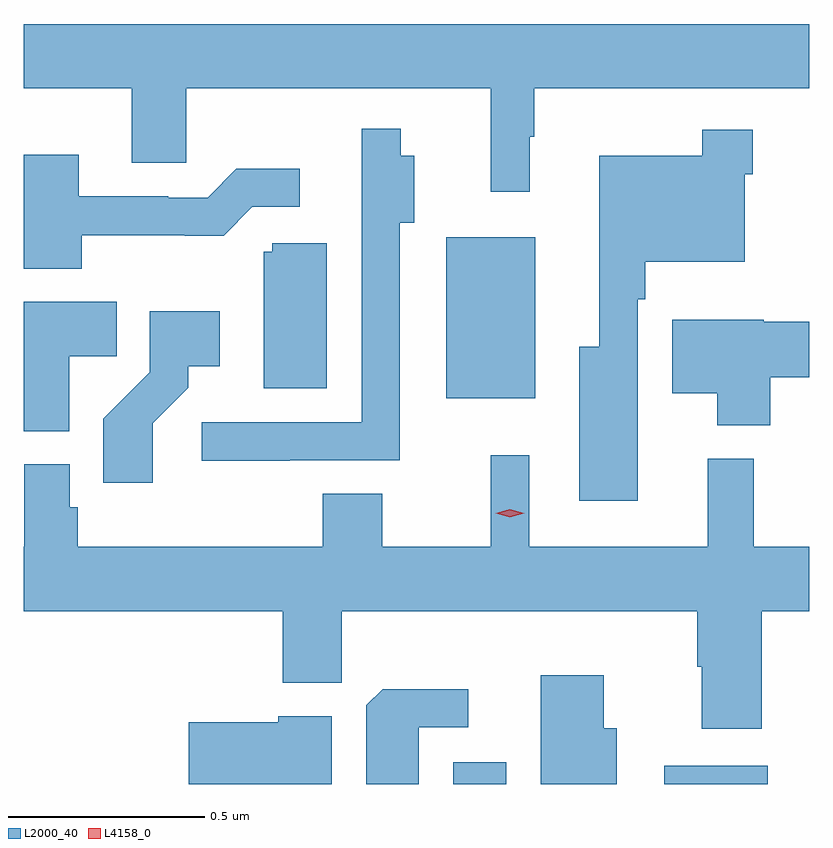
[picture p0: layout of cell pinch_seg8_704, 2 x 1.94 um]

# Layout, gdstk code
import gdstk
lib = gdstk.Library(unit=1e-6, precision=1e-09)
def R(c, l, rs):  # rectangles x0, y0, x1, y1
    for r in rs: c.add(gdstk.rectangle(r[:2], r[2:], *l))
def P(c, l, *ps):  # polygons
    for p in ps: c.add(gdstk.Polygon(p, *l))
L2000_40 = (2000, 40)
L4158_0 = (4158, 0)

pinch_seg8_704 = lib.new_cell('pinch_seg8_704')
R(pinch_seg8_704, L2000_40, [(251.276,1098.744,251.41,1098.799), (251.813,1098.744,252.077,1098.79), (251.258,1099.727,251.485,1100.137)])
P(pinch_seg8_704, L2000_40, [(251.47,1100.393),(251.482,1100.393),(251.482,1100.516),(252.182,1100.516),(252.182,1100.68),(250.182,1100.68),(250.182,1100.516),(250.457,1100.516),(250.457,1100.326),(250.596,1100.326),(250.596,1100.516),(251.371,1100.516),(251.371,1100.253),(251.47,1100.253)],
  [(250.859,1099.569),(251.139,1099.569),(251.139,1100.174),(251.176,1100.174),(251.176,1100.344),(251.142,1100.344),(251.142,1100.413),(251.042,1100.413),(251.042,1100.19),(251.043,1100.19),(251.043,1099.665),(250.635,1099.665),(250.635,1099.567),(250.859,1099.567)],
  [(251.746,1099.979),(251.765,1099.979),(251.765,1100.075),(252.018,1100.075),(252.018,1100.297),(252.038,1100.297),(252.038,1100.41),(251.91,1100.41),(251.91,1100.344),(251.648,1100.344),(251.648,1099.858),(251.597,1099.858),(251.597,1099.466),(251.746,1099.466)],
  [(250.329,1100.142),(250.592,1100.142),(250.592,1100.141),(250.691,1100.141),(250.764,1100.214),(250.885,1100.214),(250.885,1100.311),(250.723,1100.311),(250.65,1100.238),(250.55,1100.238),(250.55,1100.241),(250.321,1100.241),(250.321,1100.347),(250.182,1100.347),(250.182,1100.057),(250.329,1100.057)],
  [(250.954,1100.121),(250.815,1100.121),(250.815,1100.1),(250.793,1100.1),(250.793,1099.752),(250.954,1099.752)],
  [(250.297,1099.834),(250.418,1099.834),(250.418,1099.972),(250.182,1099.972),(250.182,1099.643),(250.297,1099.643)],
  [(250.51,1099.663),(250.6,1099.753),(250.6,1099.808),(250.681,1099.808),(250.681,1099.948),(250.503,1099.948),(250.503,1099.793),(250.384,1099.674),(250.384,1099.512),(250.51,1099.512)],
  [(252.083,1099.78),(252.182,1099.78),(252.182,1099.922),(252.066,1099.922),(252.066,1099.927),(251.834,1099.927),(251.834,1099.739),(251.948,1099.739),(251.948,1099.658),(252.083,1099.658)],
  [(252.062,1099.184),(252.182,1099.184),(252.182,1099.348),(252.041,1099.348),(252.041,1099.573),(251.924,1099.573),(251.924,1099.348),(251.469,1099.348),(251.469,1099.582),(251.371,1099.582),(251.371,1099.348),(251.095,1099.348),(251.095,1099.484),(250.943,1099.484),(250.943,1099.348),(250.319,1099.348),(250.319,1099.449),(250.299,1099.449),(250.299,1099.558),(250.183,1099.558),(250.183,1099.348),(250.182,1099.348),(250.182,1099.184),(250.841,1099.184),(250.841,1099.002),(250.991,1099.002),(250.991,1099.184),(251.897,1099.184),(251.897,1099.043),(251.909,1099.043),(251.909,1098.885),(252.062,1098.885)],
  [(251.692,1098.886),(251.659,1098.886),(251.659,1099.021),(251.498,1099.021),(251.498,1098.744),(251.692,1098.744)],
  [(251.188,1098.888),(251.314,1098.888),(251.314,1098.986),(251.096,1098.986),(251.054,1098.944),(251.054,1098.744),(251.188,1098.744)],
  [(250.966,1098.916),(250.83,1098.916),(250.83,1098.901),(250.602,1098.901),(250.602,1098.744),(250.966,1098.744)])
P(pinch_seg8_704, L4158_0, [(251.42,1099.424),(251.384,1099.434),(251.384,1099.434),(251.384,1099.434),(251.42,1099.444),(251.456,1099.434),(251.456,1099.434),(251.456,1099.434)])

lib.write_gds('pinch_seg8_704.gds')
